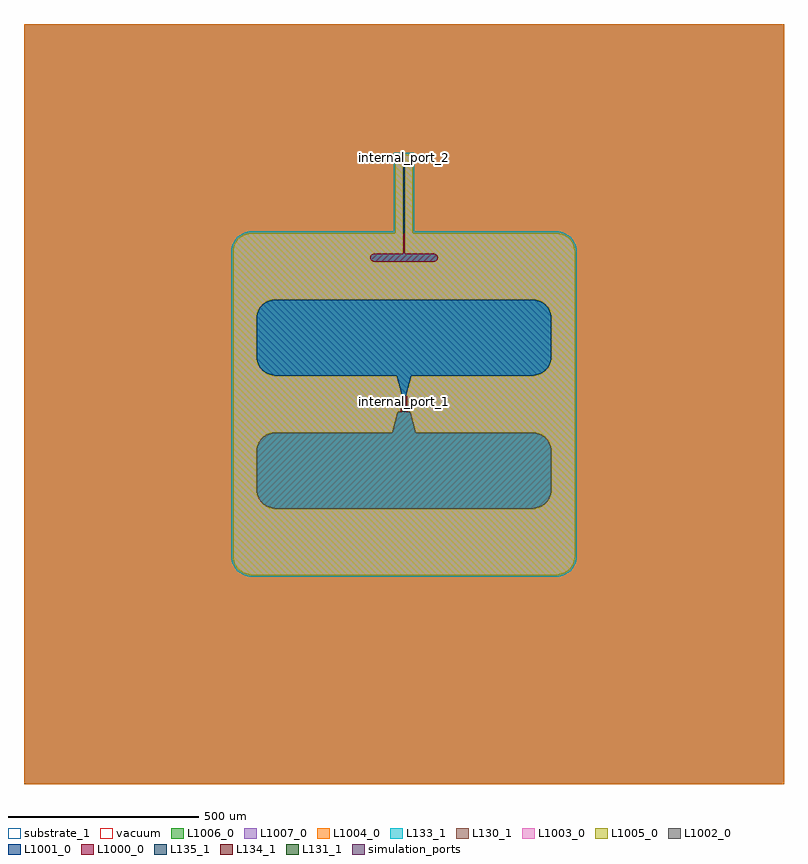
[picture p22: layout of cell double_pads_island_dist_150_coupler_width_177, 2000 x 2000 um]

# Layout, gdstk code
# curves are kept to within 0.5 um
import gdstk
lib = gdstk.Library(unit=1e-6, precision=1e-09)
def R(c, l, rs):  # rectangles x0, y0, x1, y1
    for r in rs: c.add(gdstk.rectangle(r[:2], r[2:], *l))
def P(c, l, *ps):  # polygons
    for p in ps: c.add(gdstk.Polygon(p, *l))
L130_1 = (130, 1)
L131_1 = (131, 1)
L133_1 = (133, 1)
L134_1 = (134, 1)
L135_1 = (135, 1)
L1000_0 = (1000, 0)
L1001_0 = (1001, 0)
L1002_0 = (1002, 0)
L1003_0 = (1003, 0)
L1004_0 = (1004, 0)
L1005_0 = (1005, 0)
L1006_0 = (1006, 0)
L1007_0 = (1007, 0)
substrate_1 = (1008, 0)
vacuum = (1009, 0)
simulation_ports = (1010, 0)

sim = lib.new_cell('Sim')
R(sim, L130_1, [(-9,0,9,39.5)])
P(sim, L131_1, [(-4,0),(-4,12),(4,12),(4,0),(-4,0),(-4,12),(4,12),(4,0)],
  [(-4,26.5),(-4,39.5),(4,39.5),(4,26.5),(-4,26.5),(-4,39.5),(4,39.5),(4,26.5)])
R(sim, L133_1, [(-9,-5,9,44.5)])
sim.add(gdstk.Label('base', (0,0), layer=225, texttype=0))
sim.add(gdstk.Label('origin_squid', (0,0), layer=225, texttype=0))
sim.add(gdstk.Label('port_squid_b', (0,12), layer=225, texttype=0))
sim.add(gdstk.Label('port_squid_a', (0,26.5), layer=225, texttype=0))
sim.add(gdstk.Label('port_common', (0,39.5), layer=225, texttype=0))

double_pads_79 = lib.new_cell('Double*Pads$79')
P(double_pads_79, L130_1, [(-402.456,-450),(-412.164,-448.56),(-421.404,-445.254),(-433.618,-437.092),(-440.209,-429.821),(-445.254,-421.404),(-449.518,-407.345),(-450,-19.75),(-15.85,-19.75),(-30.65,-75),(-339.956,-75),(-354.365,-77.866),(-367.321,-84.791),(-374.592,-91.382),(-380.438,-99.264),(-384.634,-108.135),(-387.018,-117.655),(-387.018,-232.345),(-382.754,-246.404),(-374.592,-258.618),(-367.321,-265.209),(-358.904,-270.254),(-344.845,-274.518),(339.956,-275),(349.664,-273.56),(358.904,-270.254),(371.118,-262.092),(380.438,-250.736),(386.06,-237.164),(387.5,-227.456),(387.5,-122.544),(386.06,-112.836),(382.754,-103.596),(374.592,-91.382),(367.321,-84.791),(358.904,-79.746),(344.845,-75.482),(30.65,-75),(15.85,-19.75),(-450,-19.75),(-450,275),(-339.956,275),(-349.664,273.56),(-358.904,270.254),(-371.118,262.092),(-377.709,254.821),(-382.754,246.404),(-387.018,232.345),(-387.018,117.655),(-384.634,108.135),(-377.709,95.179),(-371.118,87.908),(-363.236,82.062),(-354.365,77.866),(-339.956,75),(-18.8,75),(-5,19.75),(5,19.75),(18.8,75),(339.956,75),(349.664,76.44),(358.904,79.746),(367.321,84.791),(377.709,95.179),(384.634,108.135),(387.018,117.655),(387.5,227.456),(386.06,237.164),(382.754,246.404),(374.592,258.618),(367.321,265.209),(358.904,270.254),(349.664,273.56),(339.956,275),(-450,275),(-450,402.456),(-448.56,412.164),(-445.254,421.404),(-437.092,433.618),(-429.821,440.209),(-421.404,445.254),(-412.164,448.56),(-402.456,450),(-2.5,450),(-2.5,395),(-80.933,394.712),(-85.224,392.418),(-88.212,387.433),(-87.927,381.627),(-85.224,377.582),(-82.781,375.949),(-78.991,375),(78.991,375),(82.781,375.949),(85.224,377.582),(87.551,380.719),(88.404,383.531),(88.404,386.469),(87.088,390.147),(84.464,393.042),(80.933,394.712),(2.5,395),(2.5,450),(402.456,450),(412.164,448.56),(421.404,445.254),(433.618,437.092),(440.209,429.821),(445.254,421.404),(448.56,412.164),(450,402.456),(450,-402.456),(448.56,-412.164),(445.254,-421.404),(437.092,-433.618),(429.821,-440.209),(421.404,-445.254),(412.164,-448.56),(402.456,-450)])
P(double_pads_79, L133_1, [(-402.702,-455),(-413.38,-453.416),(-423.544,-449.779),(-432.803,-444.23),(-436.98,-440.801),(-444.23,-432.803),(-449.779,-423.544),(-453.416,-413.38),(-455,-402.702),(-455,402.702),(-453.416,413.38),(-449.779,423.544),(-444.23,432.803),(-440.801,436.98),(-432.803,444.23),(-423.544,449.779),(-413.38,453.416),(-402.702,455),(402.702,455),(413.38,453.416),(423.544,449.779),(432.803,444.23),(436.98,440.801),(444.23,432.803),(449.779,423.544),(453.416,413.38),(455,402.702),(455,-402.702),(453.416,-413.38),(449.779,-423.544),(444.23,-432.803),(440.801,-436.98),(432.803,-444.23),(423.544,-449.779),(413.38,-453.416),(402.702,-455)])
R(double_pads_79, L134_1, [(-9,-19.75,9,19.75)])
double_pads_79.add(gdstk.Reference(sim, (0,-19.75)))
double_pads_79.add(gdstk.Label('port_cplr_corner', (0,550), layer=225, texttype=0))
double_pads_79.add(gdstk.Label('squid_port_squid_a', (0,6.75), layer=225, texttype=0))
double_pads_79.add(gdstk.Label('port_cplr', (0,450), layer=225, texttype=0))
double_pads_79.add(gdstk.Label('squid_origin_squid', (0,-19.75), layer=225, texttype=0))
double_pads_79.add(gdstk.Label('base', (0,0), layer=225, texttype=0))
double_pads_79.add(gdstk.Label('probe_island_1', (0,175), layer=225, texttype=0))
double_pads_79.add(gdstk.Label('squid_base', (0,-19.75), layer=225, texttype=0))
double_pads_79.add(gdstk.Label('squid_port_squid_b', (0,-7.75), layer=225, texttype=0))
double_pads_79.add(gdstk.Label('port_drive_corner', (-550,0), layer=225, texttype=0))
double_pads_79.add(gdstk.Label('squid_port_common', (0,19.75), layer=225, texttype=0))
double_pads_79.add(gdstk.Label('junction1', (0,19.75), layer=225, texttype=0))
double_pads_79.add(gdstk.Label('port_drive', (-450,0), layer=225, texttype=0))
double_pads_79.add(gdstk.Label('probe_island_2', (0,-175), layer=225, texttype=0))
double_pads_79.add(gdstk.Label('junction2', (0,-19.75), layer=225, texttype=0))
double_pads_79.add(gdstk.Label('cplr', (0,450), layer=154, texttype=1))
double_pads_79.add(gdstk.Label('drive', (-450,0), layer=154, texttype=1))

waveguide_coplanar = lib.new_cell('Waveguide*Coplanar')
R(waveguide_coplanar, L130_1, [(977.5,1450,997.5,1656), (1002.5,1450,1022.5,1656)])
R(waveguide_coplanar, L133_1, [(972.5,1445,1027.5,1450), (972.5,1450,1027.5,1656), (972.5,1656,1027.5,1661)])
R(waveguide_coplanar, L135_1, [(997.5,1450,1002.5,1656)])
waveguide_coplanar.add(gdstk.FlexPath([(1000,1450),(1000,1656)], 0, ends="flush", simple_path=True, layer=135, datatype=1))  # L135_1
waveguide_coplanar.add(gdstk.Label('base', (0,0), layer=225, texttype=0))
waveguide_coplanar.add(gdstk.Label('port_b_corner', (1000,1756), layer=225, texttype=0))
waveguide_coplanar.add(gdstk.Label('port_b', (1000,1656), layer=225, texttype=0))
waveguide_coplanar.add(gdstk.Label('port_a', (1000,1450), layer=225, texttype=0))
waveguide_coplanar.add(gdstk.Label('port_a_corner', (1000,1350), layer=225, texttype=0))
waveguide_coplanar.add(gdstk.Label('a', (1000,1450), layer=154, texttype=1))
waveguide_coplanar.add(gdstk.Label('b', (1000,1656), layer=154, texttype=1))

waveguide_composite = lib.new_cell('Waveguide*Composite')
waveguide_composite.add(gdstk.Reference(waveguide_coplanar, (0,0)))
waveguide_composite.add(gdstk.Label('base', (0,0), layer=225, texttype=0))
waveguide_composite.add(gdstk.Label('port_b_corner', (1000,1756), layer=225, texttype=0))
waveguide_composite.add(gdstk.Label('port_b', (1000,1656), layer=225, texttype=0))
waveguide_composite.add(gdstk.Label('port_a', (1000,1450), layer=225, texttype=0))
waveguide_composite.add(gdstk.Label('port_a_corner', (1000,1350), layer=225, texttype=0))
waveguide_composite.add(gdstk.Label('a', (1000,1450), layer=154, texttype=1))
waveguide_composite.add(gdstk.Label('b', (1000,1656), layer=154, texttype=1))

double_pads_island_dist_ = lib.new_cell('double_pads_island_dist_150_coupler_width_177')
P(double_pads_island_dist_, L1000_0, [(921.009,1375),(917.219,1375.949),(914.777,1377.581),(912.449,1380.719),(911.596,1383.531),(911.596,1386.469),(912.912,1390.147),(915.536,1393.042),(919.068,1394.712),(997.5,1395),(997.5,1650),(1002.5,1650),(1002.5,1395),(1079.969,1394.904),(1083.647,1393.588),(1087.088,1390.147),(1088.404,1386.469),(1088.212,1382.568),(1087.088,1379.853),(1084.464,1376.958),(1078.991,1375)])
P(double_pads_island_dist_, L1001_0, [(996,1006.75),(996,1019.75),(995,1019.75),(981.2,1075),(660.044,1075),(645.635,1077.866),(632.679,1084.791),(625.407,1091.383),(619.562,1099.264),(615.366,1108.135),(612.982,1117.655),(612.5,1227.456),(615.366,1241.865),(619.562,1250.736),(625.407,1258.617),(636.764,1267.938),(645.635,1272.134),(660.044,1275),(1339.956,1275),(1354.365,1272.134),(1363.236,1267.938),(1371.117,1262.093),(1380.438,1250.736),(1384.634,1241.865),(1387.5,1227.456),(1387.018,1117.655),(1384.634,1108.135),(1377.709,1095.179),(1371.117,1087.907),(1363.236,1082.062),(1354.365,1077.866),(1339.956,1075),(1018.8,1075),(1005,1019.75),(1004,1019.75),(1004,1006.75)])
P(double_pads_island_dist_, L1002_0, [(660.044,725),(650.337,726.44),(641.096,729.746),(628.883,737.907),(622.291,745.179),(617.246,753.596),(613.94,762.837),(612.5,772.544),(612.5,877.456),(613.94,887.163),(617.246,896.404),(625.407,908.617),(636.764,917.938),(650.337,923.56),(660.044,925),(969.35,925),(984.15,980.25),(996,980.25),(996,992.25),(1004,992.25),(1004,980.25),(1015.85,980.25),(1030.65,925),(1344.845,924.518),(1358.904,920.254),(1371.117,912.093),(1380.438,900.736),(1386.06,887.163),(1387.5,877.456),(1387.5,772.544),(1386.06,762.837),(1382.754,753.596),(1374.593,741.383),(1363.236,732.062),(1349.663,726.44),(1339.956,725)])
P(double_pads_island_dist_, L1003_0, [(597.544,550),(587.837,551.44),(578.596,554.746),(566.383,562.907),(559.791,570.179),(554.746,578.596),(550.482,592.655),(550,992.25),(996,992.25),(996,980.25),(984.15,980.25),(969.35,925),(660.044,925),(645.635,922.134),(632.679,915.209),(625.407,908.617),(619.562,900.736),(615.366,891.865),(612.982,882.345),(612.982,767.655),(617.246,753.596),(625.407,741.383),(632.679,734.791),(641.096,729.746),(655.155,725.482),(1339.956,725),(1349.663,726.44),(1358.904,729.746),(1371.117,737.907),(1380.438,749.264),(1386.06,762.837),(1387.5,772.544),(1387.5,877.456),(1386.06,887.163),(1382.754,896.404),(1374.593,908.617),(1367.321,915.209),(1358.904,920.254),(1344.845,924.518),(1030.65,925),(1015.85,980.25),(1004,980.25),(1004,992.25),(550,992.25),(550,1275),(660.044,1275),(650.337,1273.56),(641.096,1270.254),(628.883,1262.093),(622.291,1254.821),(617.246,1246.404),(612.982,1232.345),(612.982,1117.655),(615.366,1108.135),(622.291,1095.179),(628.883,1087.907),(636.764,1082.062),(645.635,1077.866),(660.044,1075),(981.2,1075),(995,1019.75),(996,1019.75),(996,1006.75),(1004,1006.75),(1004,1019.75),(1005,1019.75),(1018.8,1075),(1339.956,1075),(1354.365,1077.866),(1363.236,1082.062),(1371.117,1087.907),(1377.709,1095.179),(1384.634,1108.135),(1387.018,1117.655),(1387.5,1227.456),(1386.06,1237.163),(1382.754,1246.404),(1374.593,1258.617),(1367.321,1265.209),(1358.904,1270.254),(1349.663,1273.56),(1339.956,1275),(550,1275),(550,1402.456),(551.44,1412.163),(554.746,1421.404),(562.907,1433.617),(570.179,1440.209),(578.596,1445.254),(587.837,1448.56),(597.544,1450),(977.5,1450),(977.5,1650),(997.5,1650),(997.5,1395),(920.031,1394.904),(916.353,1393.588),(912.912,1390.147),(911.596,1386.469),(912.073,1381.627),(915.536,1376.958),(921.009,1375),(1078.991,1375),(1083.647,1376.412),(1087.551,1380.719),(1088.404,1386.469),(1085.919,1391.723),(1080.932,1394.712),(1002.5,1395),(1002.5,1650),(977.5,1650),(977.5,1656),(997.5,1656),(997.5,1655),(1002.5,1655),(1002.5,1656),(1022.5,1656),(1022.5,1450),(1402.456,1450),(1412.163,1448.56),(1421.404,1445.254),(1433.618,1437.092),(1440.209,1429.821),(1445.254,1421.404),(1448.56,1412.163),(1450,1402.456),(1450,597.544),(1448.56,587.837),(1445.254,578.596),(1437.092,566.382),(1429.821,559.791),(1421.404,554.746),(1412.163,551.44),(1402.456,550)])
P(double_pads_island_dist_, L1004_0, [(0,0),(0,1656),(977.5,1656),(977.5,1450),(597.544,1450),(583.135,1447.134),(570.179,1440.209),(559.791,1429.821),(552.866,1416.865),(550,1402.456),(550,597.544),(551.44,587.837),(554.746,578.596),(559.791,570.179),(570.179,559.791),(583.135,552.866),(597.544,550),(1402.456,550),(1412.163,551.44),(1421.404,554.746),(1433.617,562.907),(1440.209,570.179),(1445.254,578.596),(1448.56,587.837),(1450,597.544),(1450,1402.456),(1448.56,1412.163),(1445.254,1421.404),(1440.209,1429.821),(1433.618,1437.092),(1421.404,1445.254),(1412.163,1448.56),(1402.456,1450),(1022.5,1450),(1022.5,1656),(1002.5,1656),(1002.5,1655),(997.5,1655),(997.5,1656),(0,1656),(0,2000),(2000,2000),(2000,0)])
P(double_pads_island_dist_, L1005_0, [(597.544,550),(587.837,551.44),(578.596,554.746),(566.383,562.907),(559.791,570.179),(554.746,578.596),(550.482,592.655),(550,992.25),(996,992.25),(996,980.25),(984.15,980.25),(969.35,925),(660.044,925),(645.635,922.134),(632.679,915.209),(625.407,908.617),(619.562,900.736),(615.366,891.865),(612.982,882.345),(612.982,767.655),(617.246,753.596),(625.407,741.383),(632.679,734.791),(641.096,729.746),(655.155,725.482),(1339.956,725),(1349.663,726.44),(1358.904,729.746),(1371.117,737.907),(1380.438,749.264),(1386.06,762.837),(1387.5,772.544),(1387.5,877.456),(1386.06,887.163),(1382.754,896.404),(1374.593,908.617),(1367.321,915.209),(1358.904,920.254),(1344.845,924.518),(1030.65,925),(1015.85,980.25),(1004,980.25),(1004,992.25),(550,992.25),(550,1275),(660.044,1275),(650.337,1273.56),(641.096,1270.254),(628.883,1262.093),(622.291,1254.821),(617.246,1246.404),(612.982,1232.345),(612.982,1117.655),(615.366,1108.135),(622.291,1095.179),(628.883,1087.907),(636.764,1082.062),(645.635,1077.866),(660.044,1075),(981.2,1075),(995,1019.75),(996,1019.75),(996,1006.75),(1004,1006.75),(1004,1019.75),(1005,1019.75),(1018.8,1075),(1339.956,1075),(1354.365,1077.866),(1363.236,1082.062),(1371.117,1087.907),(1377.709,1095.179),(1384.634,1108.135),(1387.018,1117.655),(1387.5,1227.456),(1386.06,1237.163),(1382.754,1246.404),(1374.593,1258.617),(1367.321,1265.209),(1358.904,1270.254),(1349.663,1273.56),(1339.956,1275),(550,1275),(550,1402.456),(551.44,1412.163),(554.746,1421.404),(562.907,1433.617),(570.179,1440.209),(578.596,1445.254),(587.837,1448.56),(597.544,1450),(977.5,1450),(977.5,1650),(997.5,1650),(997.5,1395),(920.031,1394.904),(916.353,1393.588),(912.912,1390.147),(911.596,1386.469),(912.073,1381.627),(915.536,1376.958),(921.009,1375),(1078.991,1375),(1083.647,1376.412),(1087.551,1380.719),(1088.404,1386.469),(1085.919,1391.723),(1080.932,1394.712),(1002.5,1395),(1002.5,1650),(977.5,1650),(977.5,1656),(997.5,1656),(997.5,1655),(1002.5,1655),(1002.5,1656),(1022.5,1656),(1022.5,1450),(1402.456,1450),(1412.163,1448.56),(1421.404,1445.254),(1433.618,1437.092),(1440.209,1429.821),(1445.254,1421.404),(1448.56,1412.163),(1450,1402.456),(1450,597.544),(1448.56,587.837),(1445.254,578.596),(1437.092,566.382),(1429.821,559.791),(1421.404,554.746),(1412.163,551.44),(1402.456,550)])
P(double_pads_island_dist_, L1006_0, [(921.009,1375),(917.219,1375.949),(914.777,1377.581),(912.449,1380.719),(911.596,1383.531),(911.596,1386.469),(912.912,1390.147),(915.536,1393.042),(919.068,1394.712),(997.5,1395),(997.5,1650),(1002.5,1650),(1002.5,1395),(1079.969,1394.904),(1083.647,1393.588),(1087.088,1390.147),(1088.404,1386.469),(1088.212,1382.568),(1087.088,1379.853),(1084.464,1376.958),(1078.991,1375)],
  [(660.044,725),(650.337,726.44),(641.096,729.746),(628.883,737.907),(622.291,745.179),(617.246,753.596),(613.94,762.837),(612.5,772.544),(612.5,877.456),(613.94,887.163),(617.246,896.404),(625.407,908.617),(636.764,917.938),(650.337,923.56),(660.044,925),(969.35,925),(984.15,980.25),(996,980.25),(996,992.25),(1004,992.25),(1004,980.25),(1015.85,980.25),(1030.65,925),(1344.845,924.518),(1358.904,920.254),(1371.117,912.093),(1380.438,900.736),(1386.06,887.163),(1387.5,877.456),(1387.5,772.544),(1386.06,762.837),(1382.754,753.596),(1374.593,741.383),(1363.236,732.062),(1349.663,726.44),(1339.956,725)],
  [(996,1006.75),(996,1019.75),(995,1019.75),(981.2,1075),(660.044,1075),(645.635,1077.866),(632.679,1084.791),(625.407,1091.383),(619.562,1099.264),(615.366,1108.135),(612.982,1117.655),(612.5,1227.456),(615.366,1241.865),(619.562,1250.736),(625.407,1258.617),(636.764,1267.938),(645.635,1272.134),(660.044,1275),(1339.956,1275),(1354.365,1272.134),(1363.236,1267.938),(1371.117,1262.093),(1380.438,1250.736),(1384.634,1241.865),(1387.5,1227.456),(1387.018,1117.655),(1384.634,1108.135),(1377.709,1095.179),(1371.117,1087.907),(1363.236,1082.062),(1354.365,1077.866),(1339.956,1075),(1018.8,1075),(1005,1019.75),(1004,1019.75),(1004,1006.75)],
  [(0,0),(0,1656),(977.5,1656),(977.5,1450),(597.544,1450),(583.135,1447.134),(570.179,1440.209),(559.791,1429.821),(552.866,1416.865),(550,1402.456),(550,597.544),(551.44,587.837),(554.746,578.596),(559.791,570.179),(570.179,559.791),(583.135,552.866),(597.544,550),(1402.456,550),(1412.163,551.44),(1421.404,554.746),(1433.617,562.907),(1440.209,570.179),(1445.254,578.596),(1448.56,587.837),(1450,597.544),(1450,1402.456),(1448.56,1412.163),(1445.254,1421.404),(1440.209,1429.821),(1433.618,1437.092),(1421.404,1445.254),(1412.163,1448.56),(1402.456,1450),(1022.5,1450),(1022.5,1656),(1002.5,1656),(1002.5,1655),(997.5,1655),(997.5,1656),(0,1656),(0,2000),(2000,2000),(2000,0)])
P(double_pads_island_dist_, L1007_0, [(921.009,1375),(917.219,1375.949),(914.777,1377.581),(912.449,1380.719),(911.596,1383.531),(911.596,1386.469),(912.912,1390.147),(915.536,1393.042),(919.068,1394.712),(997.5,1395),(997.5,1650),(1002.5,1650),(1002.5,1395),(1079.969,1394.904),(1083.647,1393.588),(1087.088,1390.147),(1088.404,1386.469),(1088.212,1382.568),(1087.088,1379.853),(1084.464,1376.958),(1078.991,1375)],
  [(660.044,725),(650.337,726.44),(641.096,729.746),(628.883,737.907),(622.291,745.179),(617.246,753.596),(613.94,762.837),(612.5,772.544),(612.5,877.456),(613.94,887.163),(617.246,896.404),(625.407,908.617),(636.764,917.938),(650.337,923.56),(660.044,925),(969.35,925),(984.15,980.25),(996,980.25),(996,992.25),(1004,992.25),(1004,980.25),(1015.85,980.25),(1030.65,925),(1344.845,924.518),(1358.904,920.254),(1371.117,912.093),(1380.438,900.736),(1386.06,887.163),(1387.5,877.456),(1387.5,772.544),(1386.06,762.837),(1382.754,753.596),(1374.593,741.383),(1363.236,732.062),(1349.663,726.44),(1339.956,725)],
  [(996,1006.75),(996,1019.75),(995,1019.75),(981.2,1075),(660.044,1075),(645.635,1077.866),(632.679,1084.791),(625.407,1091.383),(619.562,1099.264),(615.366,1108.135),(612.982,1117.655),(612.5,1227.456),(615.366,1241.865),(619.562,1250.736),(625.407,1258.617),(636.764,1267.938),(645.635,1272.134),(660.044,1275),(1339.956,1275),(1354.365,1272.134),(1363.236,1267.938),(1371.117,1262.093),(1380.438,1250.736),(1384.634,1241.865),(1387.5,1227.456),(1387.018,1117.655),(1384.634,1108.135),(1377.709,1095.179),(1371.117,1087.907),(1363.236,1082.062),(1354.365,1077.866),(1339.956,1075),(1018.8,1075),(1005,1019.75),(1004,1019.75),(1004,1006.75)],
  [(0,0),(0,1656),(977.5,1656),(977.5,1450),(597.544,1450),(583.135,1447.134),(570.179,1440.209),(559.791,1429.821),(552.866,1416.865),(550,1402.456),(550,597.544),(551.44,587.837),(554.746,578.596),(559.791,570.179),(570.179,559.791),(583.135,552.866),(597.544,550),(1402.456,550),(1412.163,551.44),(1421.404,554.746),(1433.617,562.907),(1440.209,570.179),(1445.254,578.596),(1448.56,587.837),(1450,597.544),(1450,1402.456),(1448.56,1412.163),(1445.254,1421.404),(1440.209,1429.821),(1433.618,1437.092),(1421.404,1445.254),(1412.163,1448.56),(1402.456,1450),(1022.5,1450),(1022.5,1656),(1002.5,1656),(1002.5,1655),(997.5,1655),(997.5,1656),(0,1656),(0,2000),(2000,2000),(2000,0)])
P(double_pads_island_dist_, substrate_1, [(0,0),(0,1656),(0,2000),(2000,2000),(2000,0)])
P(double_pads_island_dist_, vacuum, [(0,0),(0,1656),(0,2000),(2000,2000),(2000,0)])
R(double_pads_island_dist_, simulation_ports, [(996,992.25,1004,1006.75), (997.5,1650,1002.5,1655)])
double_pads_island_dist_.add(gdstk.Reference(double_pads_79, (1000,1000)))
double_pads_island_dist_.add(gdstk.Reference(waveguide_composite, (0,0)))
double_pads_island_dist_.add(gdstk.Label('internal_port_1', (1000,1006.75), layer=1010, texttype=0))
double_pads_island_dist_.add(gdstk.Label('internal_port_2', (1000,1650), layer=1010, texttype=0))

lib.write_gds('double_pads_island_dist_150_coupler_width_177.gds')
